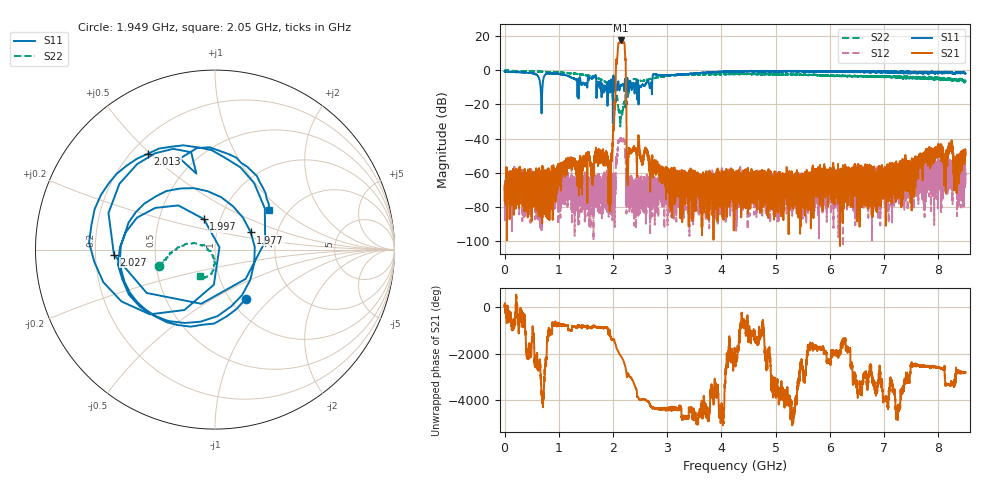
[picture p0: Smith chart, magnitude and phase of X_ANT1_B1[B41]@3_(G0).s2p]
#  HZ  S  RI  R  50.00
! Rohde & Schwarz Vector Network Analyzer
! Rohde-Schwarz,ZNBT8-20Port,1318700624101681,3.50
! Created: UTC 7/15/2025, 2:10:48 PM
! freq[Hz]  re:S1010  im:S1010  re:S0310  im:S0310  re:S1003  im:S1003  re:S33  im:S33
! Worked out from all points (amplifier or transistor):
!   8500 points, 1 MHz to 8.5 GHz, reference 50 ohm
!   highest |S21| = 17.5 dB at 2.143 GHz (marker M1)
!   |S21| within 3 dB of that: 2.095 GHz to 2.215 GHz (119.7 MHz wide, 5.55 % of centre)
!   unconditionally stable (mu >= 1): start of sweep to end of sweep
!   at 1.417 GHz: K = 434662.55, MAG = -51.0 dB, |S12| = -72.1 dB
!   at 4.251 GHz: K = 192584.76, MAG = -56.4 dB, |S12| = -68.1 dB
!   at 8.5 GHz: K = 33636.42, MAG = -44.2 dB, |S12| = -58.1 dB
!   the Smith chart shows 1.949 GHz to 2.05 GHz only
!   S11 on the Smith chart (normalised r, x): 1.949 GHz: 1.17, -0.72; 1.977 GHz: 1.46, +0.29; 1.997 GHz: 0.84, +0.29; 2.013 GHz: 0.26, +0.49; 2.027 GHz: 0.28, -0.02; 2.05 GHz: 1.61, +0.83
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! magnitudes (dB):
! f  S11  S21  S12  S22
! 1 MHz  -0.9  -76.1  -66.5  -0.2
! 1.418 GHz  -8.5  -56.2  -65.9  -2.5
! 1.949 GHz  -9.8  -53.8  -65.5  -9.8
! 1.977 GHz  -13.1  -53.3  -61.9  -12.3
! 1.997 GHz  -14.9  -42.0  -77.1  -17.0
! 2.013 GHz  -3.7  -34.3  -67.0  -28.5
! 2.027 GHz  -5.0  -18.1  -77.9  -22.1
! 2.05 GHz  -8.5  -6.7  -61.9  -15.4
! 2.093 GHz  -7.1  13.6  -43.8  -19.5
! 2.143 GHz  -8.6  17.5  -40.2  -27.4
! 2.205 GHz  -12.0  16.1  -40.6  -19.3
! 2.292 GHz  -11.2  -47.8  -65.3  -12.6
! 2.611 GHz  -7.5  -47.2  -71.9  -5.7
! 2.834 GHz  -2.8  -56.9  -70.3  -4.2
! 4.251 GHz  -0.6  -69.2  -68.1  -2.2
! 5.667 GHz  -0.4  -68.0  -61.5  -2.7
! 7.084 GHz  -1.1  -56.5  -60.9  -3.5
! 8.017 GHz  -0.8  -45.6  -62.2  -5.2
! 8.128 GHz  -1.4  -58.5  -53.7  -5.3
! 8.233 GHz  -1.2  -45.4  -58.0  -5.2
! 8.33 GHz  -1.0  -63.4  -54.1  -5.9
! 8.5 GHz  -1.9  -50.0  -58.1  -6.2
